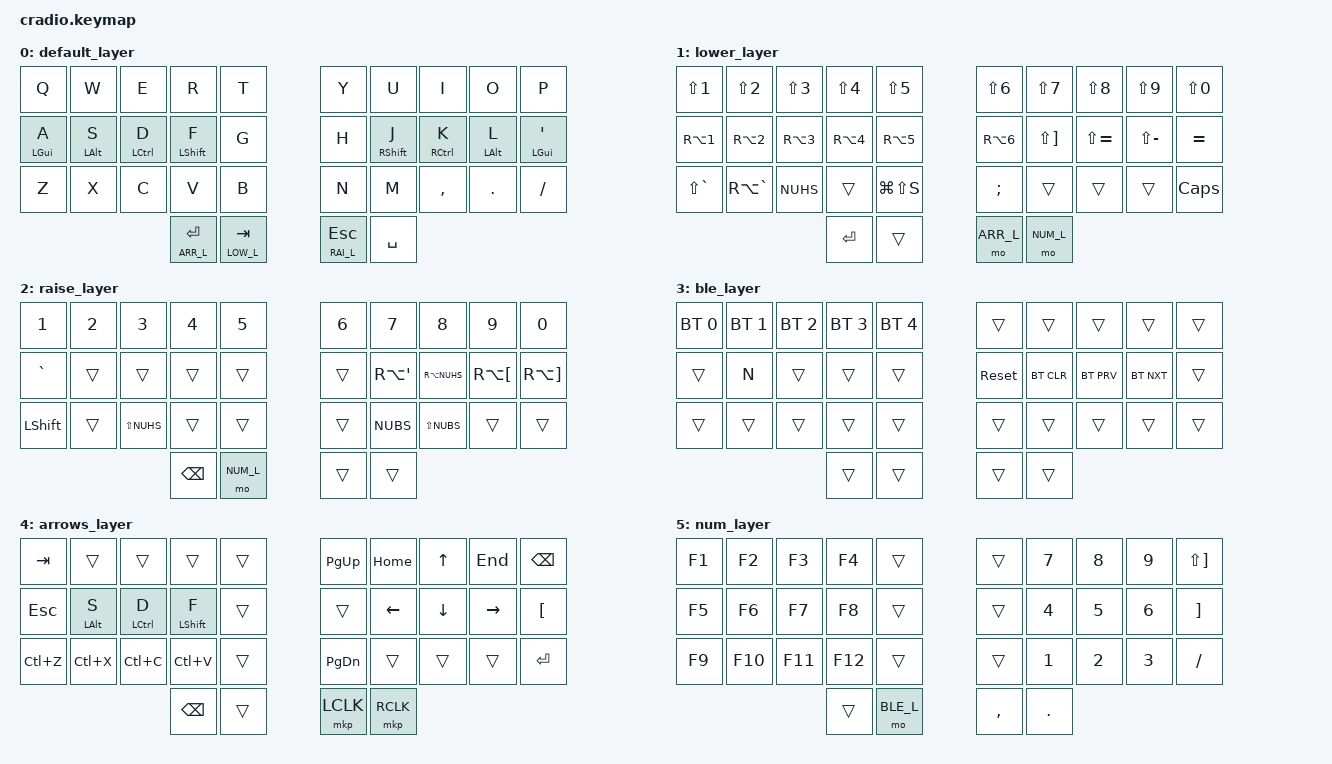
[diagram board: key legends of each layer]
// Copyright (c) 2022 The ZMK Contributors
// SPDX-License-Identifier: MIT

#include <behaviors.dtsi>
#include <dt-bindings/zmk/keys.h>
#include <dt-bindings/zmk/bt.h>
#include <dt-bindings/zmk/pointing.h>

#define CAPW &kp LG(LS(N3)) // Capture whole screen 
#define CPYW &kp LG(LS(LC(N3))) // Copy whole screen 
#define CAPP &kp LG(LS(N4)) // Capture portion of screen   
#define CPYP &kp LG(LS(LC(N4))) // Copy portion of screen

//intellij shortcuts
#define RENAME &kp LS(F6)
#define IMPOR &kp LA(LC(O))
#define GENER &kp LG(N)
#define COMPI &kp LG(F9)
#define SEARCH &kp LS(LG((R)))
#define OPEN &kp LG(O)

#define DEF_L 0
#define LOW_L 1
#define RAI_L 2
#define BLE_L 3
#define ARR_L 4
#define NUM_L 5

    &lt {
	    tapping-term-ms = <200>;
    };

/ {
	behaviors {

		hml: hold_tap_mods_l {
			compatible = "zmk,behavior-hold-tap";
			label = "HOMEROW_MODS";
    			flavor = "balanced";
			tapping-term-ms = <280>;
			quick-tap-ms = <175>;
			require-prior-idle-ms = <150>;
			#binding-cells = <2>;
			hold-trigger-key-positions = <0 1 2 3 4 10 11 12 13 14 20 21 22 23 24>;
			hold-trigger-on-release;
			bindings = <&kp>, <&kp>;
		};
		hmr: hold_tap_mods_r {
			compatible = "zmk,behavior-hold-tap";
			label = "HOMEROW_MODS";
    			flavor = "balanced";
			tapping-term-ms = <280>;
			quick-tap-ms = <175>;
			require-prior-idle-ms = <150>;
			#binding-cells = <2>;
			hold-trigger-key-positions = <5 6 7 8 9 15 16 17 18 19 25 26 27 28 29>;
			hold-trigger-on-release;
			bindings = <&kp>, <&kp>;
		};

		ht: hold_tap_mods_standard {
			compatible = "zmk,behavior-hold-tap";
			label = "HOMEROW_MODS";
			#binding-cells = <2>;
			tapping-term-ms = <400>;
			quick-tap-ms = <300>;
    			require-prior-idle-ms = <125>;
			flavor = "tap-preferred";
			bindings = <&kp>, <&kp>;
		};
        
        // hold-tap fast
		htf: hold_tap_mods_fast {
			compatible = "zmk,behavior-hold-tap";
			label = "HOMEROW_MODS";
			#binding-cells = <2>;
			tapping-term-ms = <180>;
			quick-tap-ms = <300>;
    			require-prior-idle-ms = <125>;
			flavor = "tap-preferred";
			bindings = <&kp>, <&kp>;
		};

        // hold-tap slow
		hts: hold_tap_mods_slow {
			compatible = "zmk,behavior-hold-tap";
			label = "HOMEROW_MODS";
			#binding-cells = <2>;
			tapping-term-ms = <450>;
    			quick-tap-ms = <200>;
    			require-prior-idle-ms = <125>;
			flavor = "tap-preferred";
			bindings = <&kp>, <&kp>;
		};
	};

    combos {
	compatible = "zmk,combos";
	combo_cntrl_alt_supr {
	    timeout-ms = <50>;
	    key-positions = <5 6 7>;
	    bindings = <&kp LA(LC(DEL))>;
	};
	combo_grave {
	    timeout-ms = <50>;
	    key-positions = <8 9>;
	    bindings = <&kp LBKT>;
	};
	combo_apostrof {
	    timeout-ms = <50>;
	    key-positions = <17 18>;
	    bindings = <&kp MINUS>;
	};
	combo_tab {
	    timeout-ms = <50>;
	    key-positions = <1 2>;
	    bindings = <&kp TAB>;
	};
	combo_esc {
	    timeout-ms = <50>;
	    key-positions = <11 12>;
	    bindings = <&kp ESC>;
	};
	combo_enter {
	    timeout-ms = <50>;
	    key-positions = <16 17>;
	    bindings = <&kp ENTER>;
	};
	combo_supr {
	    timeout-ms = <50>;
	    key-positions = <7 8>;
	    bindings = <&kp BKSP>;
	};
	combo_delete {
	    timeout-ms = <50>;
	    key-positions = <6 7>;
	    bindings = <&kp DEL>;
	};
    };

    keymap {
        compatible = "zmk,keymap";

		default_layer {
			bindings = <
				&kp Q			&kp W		 	&kp E		 	&kp R		   	&kp T					&kp Y			&kp U		  	&kp I			&kp O			&kp P
				&hts LGUI A		&hts LALT S	 	&hts LCTRL D 		&hml LSHIFT F  		&kp G					&kp H			&hmr RSHIFT J  		&hts RCTRL K		&hts LALT L		&hts LGUI QUOT
				&kp Z			&kp X		 	&kp C		 	&kp V		   	&kp B					&kp N			&kp M		  	&kp COMMA		&kp DOT			&kp FSLH
													&lt ARR_L ENTER		&lt LOW_L TAB				&lt RAI_L ESC		&kp SPACE
			>;
		};


		lower_layer {
			bindings = <
				&kp LS(N1)		&kp LS(N2)	  	&kp LS(N3)		&kp LS(N4)		&kp LS(N5)	  			&kp LS(N6)		&kp LS(N7)		&kp LS(N8)		&kp LS(N9)		&kp LS(N0)
				&kp RA(N1)		&kp RA(N2)  		&kp RA(N3)		&kp RA(N4)		&kp RA(N5)				&kp RA(N6)		&kp LS(RBKT)		&kp LS(EQUAL)		&kp LS(MINUS) 		&kp EQUAL
				&kp LS(GRAVE)		&kp RA(GRAVE)		&kp NUHS		&trans			&kp LG(LS(S))				&kp SEMI		&trans			&trans			&trans			&kp CAPS
													&kp ENTER		&trans					&mo ARR_L		&mo NUM_L 
			>;
		};

		raise_layer {
			bindings = <
				&kp N1			&kp N2		  	&kp N3			&kp N4			&kp N5		  			&kp N6			&kp N7			&kp N8			&kp N9			&kp N0
				&kp GRAVE		&trans			&trans			&trans			&trans					&trans			&kp RA(APOS)	        &kp RA(NUHS)		&kp RA(LBKT)		&kp RA(RBKT)			
				&kp LSHIFT		&trans			&kp LS(NUHS)	        &trans			&trans					&trans			&kp NUBS		&kp LS(NUBS)		&trans			&trans
													&kp BKSP		&mo NUM_L				&trans			&trans		
			>;
		};

		ble_layer {
			bindings = <
				&bt BT_SEL 0		&bt BT_SEL 1		&bt BT_SEL 2		&bt BT_SEL 3		&bt BT_SEL 4				&trans			&trans			&trans			&trans			&trans
				&trans			&kp N			&trans			&trans			&trans					&sys_reset		&bt BT_CLR		&bt BT_PRV		&bt BT_NXT		&trans
				&trans			&trans			&trans			&trans			&trans					&trans			&trans			&trans			&trans			&trans
													&trans 			&trans					&trans			&trans
			>;
		};

		arrows_layer {
			bindings = <
				&kp TAB			&trans			&trans			&trans			&trans					&kp PAGE_UP		&kp HOME		&kp UP			&kp END			&kp BKSP
				&kp ESC			&ht LALT S	 	&ht LCTRL D 		&ht LSHIFT F  		&trans					&trans			&kp LEFT		&kp DOWN		&kp RIGHT		&kp LBKT
				&kp LC(Z)		&kp LC(X)		&kp LC(C)		&kp LC(V)		&trans					&kp PAGE_DOWN		&trans			&trans			&trans			&kp ENTER
													&kp BKSP  		&trans 					&mkp LCLK		&mkp RCLK
			>;
		};

		num_layer {
			bindings = <
				&kp F1	  		&kp F2			&kp F3			&kp F4			&trans					&trans			&kp N7			&kp N8			&kp N9			&kp LS(RBKT)
				&kp F5			&kp F6			&kp F7			&kp F8			&trans					&trans			&kp N4			&kp N5			&kp N6			&kp RBKT
				&kp F9			&kp F10			&kp F11			&kp F12			&trans					&trans			&kp N1			&kp N2			&kp N3			&kp FSLH
													&trans 			&mo BLE_L					&kp COMMA		&kp DOT
			>;
		};

    };
};
